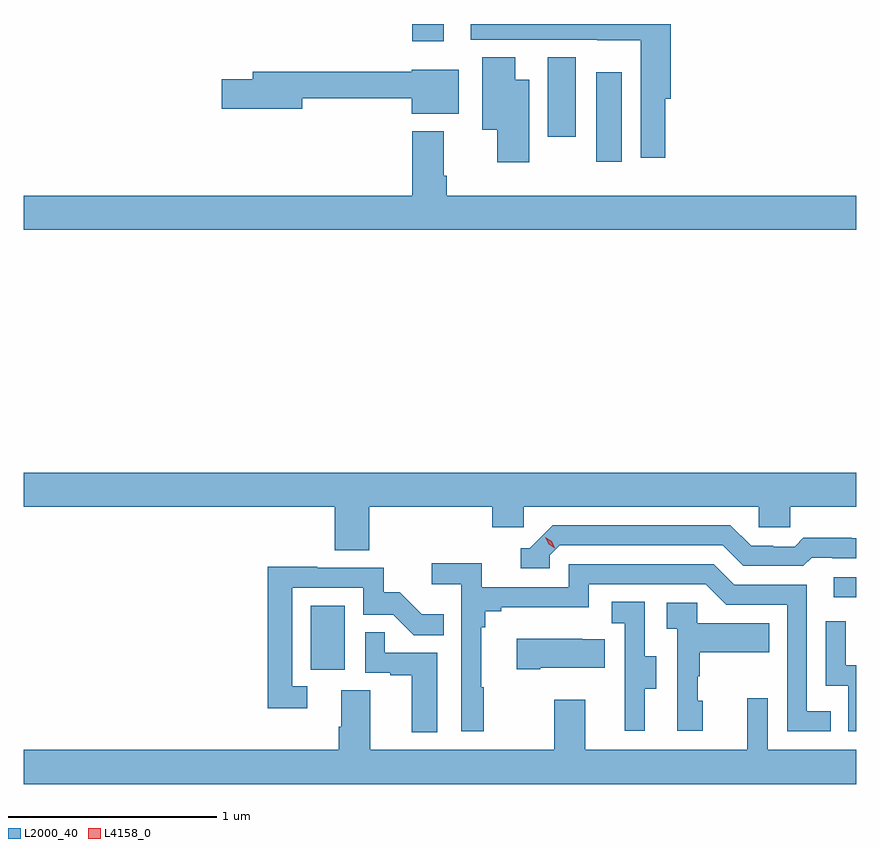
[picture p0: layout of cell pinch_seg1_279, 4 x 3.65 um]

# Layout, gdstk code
import gdstk
lib = gdstk.Library(unit=1e-6, precision=1e-09)
def R(c, l, rs):  # rectangles x0, y0, x1, y1
    for r in rs: c.add(gdstk.rectangle(r[:2], r[2:], *l))
def P(c, l, *ps):  # polygons
    for p in ps: c.add(gdstk.Polygon(p, *l))
L2000_40 = (2000, 40)
L4158_0 = (4158, 0)

pinch_seg1_279 = lib.new_cell('pinch_seg1_279')
R(pinch_seg1_279, L2000_40, [(935.882,558.942,936.046,559.249), (938.397,559.29,938.504,559.386), (937.256,561.384,937.378,561.814), (937.022,561.504,937.156,561.884), (936.371,561.963,936.523,562.045)])
P(pinch_seg1_279, L2000_40, [(937.586,561.686),(937.613,561.686),(937.613,562.045),(936.651,562.045),(936.651,561.969),(937.26,561.969),(937.26,561.968),(937.47,561.968),(937.47,561.402),(937.586,561.402)],
  [(936.934,561.778),(936.865,561.778),(936.865,561.884),(936.707,561.884),(936.707,561.536),(936.779,561.536),(936.779,561.381),(936.934,561.381)],
  [(936.595,561.826),(936.368,561.826),(936.368,561.815),(935.603,561.815),(935.603,561.779),(935.454,561.779),(935.454,561.637),(935.842,561.637),(935.842,561.687),(936.368,561.687),(936.368,561.614),(936.595,561.614)],
  [(938.504,561.22),(936.536,561.22),(936.536,561.316),(936.523,561.316),(936.523,561.529),(936.371,561.529),(936.371,561.22),(934.504,561.22),(934.504,561.056),(938.504,561.056)],
  [(936.164,559.724),(936.755,559.724),(936.755,559.626),(936.906,559.626),(936.906,559.724),(938.037,559.724),(938.037,559.626),(938.187,559.626),(938.187,559.724),(938.504,559.724),(938.504,559.888),(934.504,559.888),(934.504,559.724),(935.999,559.724),(935.999,559.516),(936.164,559.516)],
  [(937.032,559.491),(937.08,559.539),(937.863,559.539),(937.962,559.44),(938.251,559.44),(938.29,559.479),(938.389,559.479),(938.389,559.476),(938.504,559.476),(938.504,559.573),(938.484,559.573),(938.484,559.576),(938.251,559.576),(938.209,559.533),(938.106,559.533),(938.106,559.536),(937.999,559.536),(937.9,559.635),(937.047,559.635),(936.936,559.524),(936.893,559.524),(936.893,559.428),(937.032,559.428)],
  [(936.715,558.857),(936.703,558.857),(936.703,559.145),(936.722,559.145),(936.722,559.222),(936.799,559.222),(936.799,559.241),(937.218,559.241),(937.218,559.353),(937.782,559.353),(937.881,559.254),(938.172,559.254),(938.172,558.645),(938.381,558.645),(938.381,558.741),(938.268,558.741),(938.268,559.35),(937.918,559.35),(937.819,559.449),(937.122,559.449),(937.122,559.338),(936.704,559.338),(936.704,559.454),(936.465,559.454),(936.465,559.352),(936.606,559.352),(936.606,558.645),(936.715,558.645)],
  [(935.866,558.861),(935.793,558.861),(935.793,559.335),(936.135,559.335),(936.135,559.206),(936.28,559.206),(936.378,559.108),(936.521,559.108),(936.521,559.207),(936.417,559.207),(936.31,559.314),(936.234,559.314),(936.234,559.431),(935.915,559.431),(935.915,559.436),(935.677,559.436),(935.677,558.756),(935.866,558.756)],
  [(937.489,558.85),(937.543,558.85),(937.543,559.005),(937.488,559.005),(937.488,559.268),(937.329,559.268),(937.329,559.165),(937.392,559.165),(937.392,558.861),(937.391,558.861),(937.391,558.648),(937.489,558.648)],
  [(937.768,558.792),(937.743,558.792),(937.743,558.911),(937.753,558.911),(937.753,559.025),(938.087,559.025),(938.087,559.165),(937.74,559.165),(937.74,559.263),(937.593,559.263),(937.593,559.139),(937.644,559.139),(937.644,558.648),(937.768,558.648)],
  [(938.504,558.962),(938.454,558.962),(938.454,559.174),(938.358,559.174),(938.358,558.864),(938.466,558.864),(938.466,558.645),(938.504,558.645)],
  [(936.49,559.023),(936.239,559.023),(936.239,559.121),(936.144,559.121),(936.144,558.927),(936.265,558.927),(936.265,558.915),(936.368,558.915),(936.368,558.641),(936.49,558.641)],
  [(936.985,558.95),(937.295,558.95),(937.295,559.087),(937.187,559.087),(937.187,559.09),(936.873,559.09),(936.873,558.943),(936.985,558.943)],
  [(938.504,558.556),(938.079,558.556),(938.079,558.805),(937.982,558.805),(937.982,558.556),(937.201,558.556),(937.201,558.796),(937.054,558.796),(937.054,558.556),(936.169,558.556),(936.169,558.842),(936.029,558.842),(936.029,558.668),(936.017,558.668),(936.017,558.556),(934.504,558.556),(934.504,558.392),(938.504,558.392)])
P(pinch_seg1_279, L4158_0, [(937.056,559.525),(937.026,559.545),(937.01,559.578),(937.01,559.578),(937.01,559.578),(937.041,559.558),(937.056,559.526),(937.056,559.525)])

lib.write_gds('pinch_seg1_279.gds')
